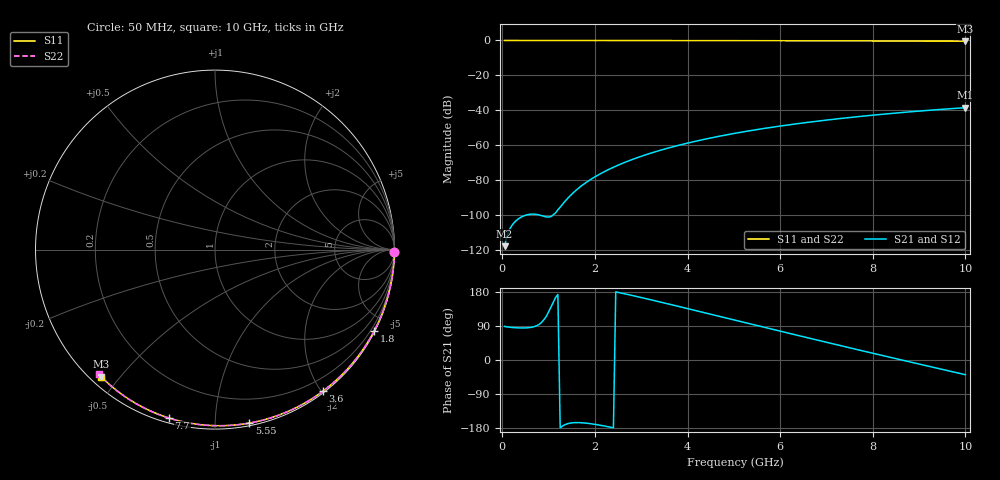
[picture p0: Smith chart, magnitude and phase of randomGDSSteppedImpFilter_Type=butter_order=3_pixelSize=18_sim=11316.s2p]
! freq	dB(S11)	phase(S11)	dB(S12)	phase(S12)
!  dB(S21)	phase(S21)	dB(S22)	phase(S22)
!S-par simulation data
#  GHz  S  DB  R 50
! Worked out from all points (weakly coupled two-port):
!   200 points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, 50 MHz to 10 GHz, reference 50 ohm
!   highest |S21| = -38.42 dB at 10 GHz (marker M1); lowest = -117.6 dB at 50 MHz (marker M2)
!   lowest |S11| = -0.4 dB at 10 GHz (marker M3), VSWR 39.09, Z = 1.53 - j22.4 ohm
!   |S11| at or under -10 dB: nowhere
!   |S22| runs from -0.4 to 0.0 dB; largest |S21 - S12| = 0
!   S11 on the Smith chart (normalised r, x): 50 MHz: open; 1.8 GHz: 0.04, -4.17; 3.6 GHz: 0.02, -2.02; 5.55 GHz: 0.02, -1.22; 7.7 GHz: 0.02, -0.76; 10 GHz: 0.03, -0.45
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0.05  -0.00 -0.8  -117.64 88.6  -117.64 88.6  -0.00 -0.8
0.9  -0.02 -13.6  -100.61 106.7  -100.61 106.7  -0.02 -13.7
1.75  -0.03 -26.3  -82.34 -165.9  -82.34 -165.9  -0.03 -26.5
1.8  -0.03 -27.0  -81.39 -166.5  -81.39 -166.5  -0.03 -27.2
1.85  -0.04 -27.7  -80.49 -167.2  -80.49 -167.2  -0.04 -28.0
1.9  -0.04 -28.5  -79.62 -168.0  -79.62 -168.0  -0.04 -28.7
2.05  -0.04 -30.7  -77.22 -170.8  -77.22 -170.8  -0.04 -30.9
2.25  -0.04 -33.6  -74.39 -175.2  -74.39 -175.2  -0.04 -33.9
2.45  -0.05 -36.5  -71.90 179.8  -71.90 179.8  -0.05 -36.8
2.65  -0.05 -39.3  -69.66 174.5  -69.66 174.5  -0.05 -39.7
3  -0.06 -44.3  -66.24 164.8  -66.24 164.8  -0.06 -44.7
3.4  -0.07 -50.0  -62.89 153.3  -62.89 153.3  -0.07 -50.4
3.6  -0.07 -52.8  -61.40 147.5  -61.40 147.5  -0.07 -53.2
4.3  -0.09 -62.4  -56.89 126.7  -56.89 126.7  -0.09 -62.9
5.05  -0.11 -72.3  -52.97 104.4  -52.97 104.4  -0.11 -73.0
5.55  -0.13 -78.8  -50.74 89.5  -50.74 89.5  -0.13 -79.5
6.1  -0.15 -85.8  -48.57 73.2  -48.57 73.2  -0.15 -86.5
6.7  -0.18 -93.2  -46.48 55.5  -46.48 55.5  -0.18 -94.0
7.7  -0.24 -105.3  -43.51 26.4  -43.51 26.4  -0.24 -106.2
8.35  -0.29 -112.9  -41.86 7.8  -41.86 7.8  -0.29 -113.9
9.15  -0.36 -122.1  -40.07 -14.9  -40.07 -14.9  -0.36 -123.2
10  -0.44 -131.8  -38.42 -38.8  -38.42 -38.8  -0.45 -132.9
